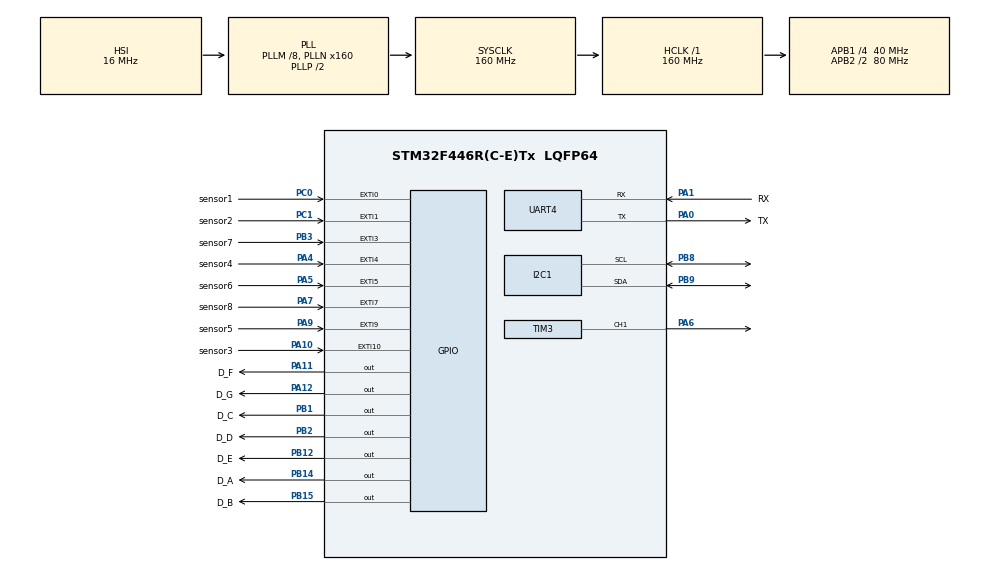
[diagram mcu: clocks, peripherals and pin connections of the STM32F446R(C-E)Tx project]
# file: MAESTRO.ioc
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Dma.Request0=TIM3_CH1/TRIG
Dma.TIM3_CH1/TRIG.0.Direction=DMA_MEMORY_TO_PERIPH
Dma.TIM3_CH1/TRIG.0.FIFOMode=DMA_FIFOMODE_DISABLE
Dma.TIM3_CH1/TRIG.0.Instance=DMA1_Stream4
Dma.TIM3_CH1/TRIG.0.MemDataAlignment=DMA_MDATAALIGN_HALFWORD
Dma.TIM3_CH1/TRIG.0.MemInc=DMA_MINC_ENABLE
Dma.TIM3_CH1/TRIG.0.Mode=DMA_NORMAL
Dma.TIM3_CH1/TRIG.0.PeriphDataAlignment=DMA_PDATAALIGN_HALFWORD
Dma.TIM3_CH1/TRIG.0.PeriphInc=DMA_PINC_DISABLE
Dma.TIM3_CH1/TRIG.0.Priority=DMA_PRIORITY_LOW
Mcu.Family=STM32F4
Mcu.Name=STM32F446R(C-E)Tx
Mcu.Package=LQFP64
NVIC.DMA1_Stream4_IRQn=true\:0\:0\:false\:false\:true\:false\:true\:true
NVIC.EXTI0_IRQn=true\:0\:0\:false\:false\:true\:true\:true\:true
NVIC.EXTI15_10_IRQn=true\:0\:0\:false\:false\:true\:true\:true\:true
NVIC.EXTI1_IRQn=true\:0\:0\:false\:false\:true\:true\:true\:true
NVIC.EXTI3_IRQn=true\:0\:0\:false\:false\:true\:true\:true\:true
NVIC.EXTI4_IRQn=true\:0\:0\:false\:false\:true\:true\:true\:true
NVIC.EXTI9_5_IRQn=true\:0\:0\:false\:false\:true\:true\:true\:true
NVIC.I2C1_ER_IRQn=true\:0\:0\:false\:false\:true\:true\:true\:true
NVIC.I2C1_EV_IRQn=true\:0\:0\:false\:false\:true\:true\:true\:true
NVIC.PriorityGroup=NVIC_PRIORITYGROUP_4
NVIC.TIM3_IRQn=true\:0\:0\:false\:false\:true\:true\:true\:true
NVIC.UART4_IRQn=true\:0\:0\:false\:false\:true\:true\:true\:true
PA0-WKUP.GPIO_Label=TX
PA0-WKUP.Mode=Asynchronous
PA0-WKUP.Signal=UART4_TX
PA1.GPIO_Label=RX
PA1.Mode=Asynchronous
PA1.Signal=UART4_RX
PA10.GPIO_Label=sensor3
PA10.GPIO_ModeDefaultEXTI=GPIO_MODE_IT_RISING_FALLING
PA10.Signal=GPXTI10
PA11.GPIO_Label=D_F
PA11.Signal=GPIO_Output
PA12.GPIO_Label=D_G
PA12.Signal=GPIO_Output
PA4.GPIO_Label=sensor4
PA4.GPIO_ModeDefaultEXTI=GPIO_MODE_IT_RISING_FALLING
PA4.Signal=GPXTI4
PA5.GPIO_Label=sensor6
PA5.GPIO_ModeDefaultEXTI=GPIO_MODE_IT_RISING_FALLING
PA5.Signal=GPXTI5
PA6.Signal=S_TIM3_CH1
PA7.GPIO_Label=sensor8
PA7.GPIO_ModeDefaultEXTI=GPIO_MODE_IT_RISING_FALLING
PA7.Signal=GPXTI7
PA9.GPIO_Label=sensor5
PA9.GPIO_ModeDefaultEXTI=GPIO_MODE_IT_RISING_FALLING
PA9.Signal=GPXTI9
PB1.GPIO_Label=D_C
PB1.Signal=GPIO_Output
PB12.GPIO_Label=D_E
PB12.Signal=GPIO_Output
PB14.GPIO_Label=D_A
PB14.Signal=GPIO_Output
PB15.GPIO_Label=D_B
PB15.Signal=GPIO_Output
PB2.GPIO_Label=D_D
PB2.Signal=GPIO_Output
PB3.GPIO_Label=sensor7
PB3.GPIO_ModeDefaultEXTI=GPIO_MODE_IT_RISING_FALLING
PB3.Signal=GPXTI3
PB8.Mode=I2C
PB8.Signal=I2C1_SCL
PB9.Mode=I2C
PB9.Signal=I2C1_SDA
PC0.GPIO_Label=sensor1
PC0.GPIO_ModeDefaultEXTI=GPIO_MODE_IT_RISING_FALLING
PC0.Signal=GPXTI0
PC1.GPIO_Label=sensor2
PC1.GPIO_ModeDefaultEXTI=GPIO_MODE_IT_RISING_FALLING
PC1.Signal=GPXTI1
PH0-OSC_IN.Mode=HSE-External-Oscillator
PH0-OSC_IN.Signal=RCC_OSC_IN
PH1-OSC_OUT.Mode=HSE-External-Oscillator
PH1-OSC_OUT.Signal=RCC_OSC_OUT
ProjectManager.HeapSize=0x200
ProjectManager.StackSize=0x400
ProjectManager.TargetToolchain=STM32CubeIDE
RCC.AHBFreq_Value=160000000
RCC.APB1CLKDivider=RCC_HCLK_DIV4
RCC.APB1Freq_Value=40000000
RCC.APB1TimFreq_Value=80000000
RCC.APB2CLKDivider=RCC_HCLK_DIV2
RCC.APB2Freq_Value=80000000
RCC.APB2TimFreq_Value=160000000
RCC.CortexFreq_Value=160000000
RCC.HCLKFreq_Value=160000000
RCC.PLLM=8
RCC.PLLN=160
RCC.SYSCLKFreq_VALUE=160000000
RCC.SYSCLKSource=RCC_SYSCLKSOURCE_PLLCLK
RCC.USBFreq_Value=160000000
RCC.VCOOutputFreq_Value=320000000
SH.S_TIM3_CH1.0=TIM3_CH1,PWM Generation1 CH1
TIM3.AutoReloadPreload=TIM_AUTORELOAD_PRELOAD_ENABLE
TIM3.Channel-PWM\ Generation1\ CH1=TIM_CHANNEL_1
TIM3.Period=24
TIM3.Prescaler=3
UART4.VirtualMode=Asynchronous
board=custom

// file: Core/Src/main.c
/* USER CODE BEGIN Header */
/**
   ******************************************************************************
 Universidad Del Valle De Guatemala
 IE2023: Electrónica digital 2
 Autor: Samuel Tortola - 22094, Alan Gomez - 22115
 Proyecto: Proyecto servidor WEB
 Hardware: STM32
 Creado: 31/10/2024
Última modificación: 3/11/2024
******************************************************************************
  */
//CODIGO DEL DISPLAY DE 7 SEGMENTOS, SENSORES INFRARROJOS, NEOPIXEL, ESTE SMT32 ES EL MAESTRO DE I2C

/* USER CODE END Header */
#include "main.h"

/* USER CODE BEGIN Includes */
#include "neo_pixel.h"
#include <string.h>

/* USER CODE END Includes */

/* USER CODE BEGIN PD */
#define NUMBER_OF_LEDS 8

uint8_t espacios_disponibles = 8, activa1 = 0, activa2 = 0, activa3 = 0, activa4 = 0, activa5 = 0, activa6 = 0, activa7 = 0, activa8 = 0, activador = 0, activador1 = 0;
int ESP32_ADDRESS = 0x01, STM32_SLAVE_ADDRESS = 0x02;

volatile uint32_t last_interrupt_time = 0; // Variable global para almacenar el tiempo de la última interrupción
uint32_t debounce_delay = 50; // Tiempo de debounce en ms

/* USER CODE END PD */

I2C_HandleTypeDef hi2c1;

TIM_HandleTypeDef htim3;
DMA_HandleTypeDef hdma_tim3_ch1_trig;

UART_HandleTypeDef huart4;

/* USER CODE BEGIN PV */
neopixel_led leds[NUMBER_OF_LEDS + 1];
neopixel_led circular_pattern_led[2 * NUMBER_OF_LEDS + 1];
rgb_color led_pattern[NUMBER_OF_LEDS];

/* USER CODE END PV */

void SystemClock_Config(void);
static void MX_GPIO_Init(void);
static void MX_DMA_Init(void);
static void MX_TIM3_Init(void);
static void MX_I2C1_Init(void);
static void MX_UART4_Init(void);
/* USER CODE BEGIN PFP */

void setSegment(uint8_t a, uint8_t b, uint8_t c, uint8_t d, uint8_t e, uint8_t f, uint8_t g);
void display0();
void display1();
void display2();
void display3();
void display4();
void display5();
void display6();
void display7();
void display8();
void display9();

/* USER CODE END PFP */

/* USER CODE BEGIN 0 */

    neopixel_led temp_neo_pixel;
	rgb_color red_color = {255, 0, 0};
	rgb_color green_color = {0, 255, 0};
	rgb_color blue_color = {0, 0, 255};
	rgb_color black_color = {0, 0, 0};
	uint16_t led_pos_counter = 0;

	  uint8_t data = 0;

void HAL_GPIO_EXTI_Callback(uint16_t GPIO_Pin) {
    uint32_t current_time = HAL_GetTick(); // Obtener el tiempo actual en ms
    activador = 1;

    if (GPIO_Pin == sensor1_Pin) {
        if ((current_time - last_interrupt_time) > debounce_delay) {
            if (activa1 == 0) {
                espacios_disponibles--;
                set_specific_led(leds, 0, &black_color);
                set_specific_led(leds, 0, &red_color);
                HAL_TIM_PWM_Start_DMA(&htim3, TIM_CHANNEL_1, (uint32_t*)leds, NUMBER_OF_LEDS * 24 + 24); // Enviar datos a los LEDs

                activa1 = 1;
            } else if (activa1 == 1) {
                espacios_disponibles++;
                set_specific_led(leds, 0, &black_color);
               set_specific_led(leds, 0, &green_color);
               HAL_TIM_PWM_Start_DMA(&htim3, TIM_CHANNEL_1, (uint32_t*)leds, NUMBER_OF_LEDS * 24 + 24); // Enviar datos a los LEDs
                activa1 = 0;
            }
            last_interrupt_time = current_time;

             data = 0x08; // Declarar una variable de tipo uint8_t con el dato a enviar
             char* mensaje = "8"; // Definir mensaje

           					 // Enviar datos al ESP32
	  if (HAL_I2C_Master_Transmit(&hi2c1, ESP32_ADDRESS << 1, &data, 1, HAL_MAX_DELAY) != HAL_OK) {
			  // Manejar el error
			  Error_Handler();
		  }
		//   Enviar datos al STM32 esclavo
	  HAL_UART_Transmit(&huart4, (uint8_t*)mensaje, strlen(mensaje), 10); // Enviar mensaje por UART4

        }
    } else if (GPIO_Pin == sensor2_Pin) {
        if ((current_time - last_interrupt_time) > debounce_delay) {
            if (activa2 == 0) {
                espacios_disponibles--;
                set_specific_led(leds, 1, &black_color);
                set_specific_led(leds, 1, &red_color);
                HAL_TIM_PWM_Start_DMA(&htim3, TIM_CHANNEL_1, (uint32_t*)leds, NUMBER_OF_LEDS * 24 + 24); // Enviar datos a los LEDs
                activa2 = 1;
            } else if (activa2 == 1) {
                espacios_disponibles++;
                set_specific_led(leds, 1, &black_color);
                set_specific_led(leds, 1, &green_color);
                HAL_TIM_PWM_Start_DMA(&htim3, TIM_CHANNEL_1, (uint32_t*)leds, NUMBER_OF_LEDS * 24 + 24); // Enviar datos a los LEDs
                activa2 = 0;
            }
            last_interrupt_time = current_time;

          data = 0x07; // Declarar una variable de tipo uint8_t con el dato a enviar
          char* mensaje = "7";

		 // Enviar datos al ESP32
          if (HAL_I2C_Master_Transmit(&hi2c1, ESP32_ADDRESS << 1, &data, 1, HAL_MAX_DELAY) != HAL_OK) {
          			  // Manejar el error
          			  Error_Handler();
          		  }

		  	//   Enviar datos al STM32 esclavo
          HAL_UART_Transmit(&huart4, (uint8_t*)mensaje, strlen(mensaje), 10); // Enviar mensaje por UART4
        }
    } else if (GPIO_Pin == sensor3_Pin) {
        if ((current_time - last_interrupt_time) > debounce_delay) {
            if (activa3 == 0) {
                espacios_disponibles--;
                set_specific_led(leds, 6, &black_color);
                set_specific_led(leds, 6, &red_color);
                HAL_TIM_PWM_Start_DMA(&htim3, TIM_CHANNEL_1, (uint32_t*)leds, NUMBER_OF_LEDS * 24 + 24); // Enviar datos a los LEDs
                activa3 = 1;
            } else if (activa3 == 1) {
                espacios_disponibles++;
                set_specific_led(leds, 6, &black_color);
                set_specific_led(leds, 6, &green_color);
                HAL_TIM_PWM_Start_DMA(&htim3, TIM_CHANNEL_1, (uint32_t*)leds, NUMBER_OF_LEDS * 24 + 24); // Enviar datos a los LEDs
                activa3 = 0;
            }
            last_interrupt_time = current_time;

            data = 0x02; // Declarar una variable de tipo uint8_t con el dato a enviar
            char* mensaje = "2";

		 // Enviar datos al ESP32
		  if (HAL_I2C_Master_Transmit(&hi2c1, ESP32_ADDRESS << 1, &data, 1, HAL_MAX_DELAY) != HAL_OK) {
			  // Manejar el error
			  Error_Handler();
		  }

		  //   Enviar datos al STM32 esclavo
		  HAL_UART_Transmit(&huart4, (uint8_t*)mensaje, strlen(mensaje), 10); // Enviar mensaje por UART4
        }
    } else if (GPIO_Pin == sensor4_Pin) {
        if ((current_time - last_interrupt_time) > debounce_delay) {
            if (activa4 == 0) {
                espacios_disponibles--;
                set_specific_led(leds, 3, &black_color);
                set_specific_led(leds, 3, &red_color);
                HAL_TIM_PWM_Start_DMA(&htim3, TIM_CHANNEL_1, (uint32_t*)leds, NUMBER_OF_LEDS * 24 + 24); // Enviar datos a los LEDs
                activa4 = 1;
            } else if (activa4 == 1) {
                espacios_disponibles++;
                set_specific_led(leds, 3, &black_color);
                set_specific_led(leds, 3, &green_color);
                HAL_TIM_PWM_Start_DMA(&htim3, TIM_CHANNEL_1, (uint32_t*)leds, NUMBER_OF_LEDS * 24 + 24); // Enviar datos a los LEDs
                activa4 = 0;
            }
            last_interrupt_time = current_time;

            data = 0x05; // Declarar una variable de tipo uint8_t con el dato a enviar
            char* mensaje = "5";

		 // Enviar datos al ESP32
		  if (HAL_I2C_Master_Transmit(&hi2c1, ESP32_ADDRESS << 1, &data, 1, HAL_MAX_DELAY) != HAL_OK) {
			  // Manejar el error
			  Error_Handler();
		  }

		  	//   Enviar datos al STM32 esclavo
		  HAL_UART_Transmit(&huart4, (uint8_t*)mensaje, strlen(mensaje), 10); // Enviar mensaje por UART4
        }
    } else if (GPIO_Pin == sensor5_Pin) {
        if ((current_time - last_interrupt_time) > debounce_delay) {
            if (activa5 == 0) {
                espacios_disponibles--;
                set_specific_led(leds, 4, &black_color);
                set_specific_led(leds, 4, &red_color);
                HAL_TIM_PWM_Start_DMA(&htim3, TIM_CHANNEL_1, (uint32_t*)leds, NUMBER_OF_LEDS * 24 + 24); // Enviar datos a los LEDs
                activa5 = 1;
            } else if (activa5 == 1) {
                espacios_disponibles++;
                set_specific_led(leds, 4, &black_color);
                set_specific_led(leds, 4, &green_color);
                HAL_TIM_PWM_Start_DMA(&htim3, TIM_CHANNEL_1, (uint32_t*)leds, NUMBER_OF_LEDS * 24 + 24); // Enviar datos a los LEDs
                activa5 = 0;
            }
            last_interrupt_time = current_time;
             data = 0x04; // Declarar una variable de tipo uint8_t con el dato a enviar
             char* mensaje = "4";

			 // Enviar datos al ESP32
			  if (HAL_I2C_Master_Transmit(&hi2c1, ESP32_ADDRESS << 1, &data, 1, HAL_MAX_DELAY) != HAL_OK) {
				  // Manejar el error
				  Error_Handler();
			  }

			  	//   Enviar datos al STM32 esclavo
			  HAL_UART_Transmit(&huart4, (uint8_t*)mensaje, strlen(mensaje), 10); // Enviar mensaje por UART4
        }
    } else if (GPIO_Pin == sensor6_Pin) {
        if ((current_time - last_interrupt_time) > debounce_delay) {
            if (activa6 == 0) {
                espacios_disponibles--;
                set_specific_led(leds, 5, &black_color);
                set_specific_led(leds, 5, &red_color);
                HAL_TIM_PWM_Start_DMA(&htim3, TIM_CHANNEL_1, (uint32_t*)leds, NUMBER_OF_LEDS * 24 + 24); // Enviar datos a los LEDs
                activa6 = 1;
            } else if (activa6 == 1) {
                espacios_disponibles++;
                set_specific_led(leds, 5, &black_color);
                set_specific_led(leds, 5, &green_color);
                HAL_TIM_PWM_Start_DMA(&htim3, TIM_CHANNEL_1, (uint32_t*)leds, NUMBER_OF_LEDS * 24 + 24); // Enviar datos a los LEDs
                activa6 = 0;
            }
            last_interrupt_time = current_time;

             data = 0x03; // Declarar una variable de tipo uint8_t con el dato a enviar
             char* mensaje = "3";

			 // Enviar datos al ESP32
			  if (HAL_I2C_Master_Transmit(&hi2c1, ESP32_ADDRESS << 1, &data, 1, HAL_MAX_DELAY) != HAL_OK) {
				  // Manejar el error
				  Error_Handler();
			  }

			  	//   Enviar datos al STM32 esclavo
			  HAL_UART_Transmit(&huart4, (uint8_t*)mensaje, strlen(mensaje), 10); // Enviar mensaje por UART4
        }
    } else if (GPIO_Pin == sensor7_Pin) {
        if ((current_time - last_interrupt_time) > debounce_delay) {
            if (activa7 == 0) {
                espacios_disponibles--;
                set_specific_led(leds, 2, &black_color);
                set_specific_led(leds, 2, &red_color);
                HAL_TIM_PWM_Start_DMA(&htim3, TIM_CHANNEL_1, (uint32_t*)leds, NUMBER_OF_LEDS * 24 + 24); // Enviar datos a los LEDs
                activa7 = 1;
            } else if (activa7 == 1) {
                espacios_disponibles++;
                set_specific_led(leds, 2, &black_color);
                set_specific_led(leds, 2, &green_color);
                HAL_TIM_PWM_Start_DMA(&htim3, TIM_CHANNEL_1, (uint32_t*)leds, NUMBER_OF_LEDS * 24 + 24); // Enviar datos a los LEDs
                activa7 = 0;
            }
            last_interrupt_time = current_time;
            data = 0x06; // Declarar una variable de tipo uint8_t con el dato a enviar
            char* mensaje = "6";

			 // Enviar datos al ESP32
			  if (HAL_I2C_Master_Transmit(&hi2c1, ESP32_ADDRESS << 1, &data, 1, HAL_MAX_DELAY) != HAL_OK) {
				  // Manejar el error
				  Error_Handler();
			  }

			  //   Enviar datos al STM32 esclavo
			  HAL_UART_Transmit(&huart4, (uint8_t*)mensaje, strlen(mensaje), 10); // Enviar mensaje por UART4
        }
    } else if (GPIO_Pin == sensor8_Pin) {
        if ((current_time - last_interrupt_time) > debounce_delay) {
            if (activa8 == 0) {
                espacios_disponibles--;
                set_specific_led(leds, 7, &black_color);
                set_specific_led(leds, 7, &red_color);
                HAL_TIM_PWM_Start_DMA(&htim3, TIM_CHANNEL_1, (uint32_t*)leds, NUMBER_OF_LEDS * 24 + 24); // Enviar datos a los LEDs
                activa8 = 1;
            } else if (activa8 == 1) {
                espacios_disponibles++;
                set_specific_led(leds, 7, &black_color);
                set_specific_led(leds, 7, &green_color);
                HAL_TIM_PWM_Start_DMA(&htim3, TIM_CHANNEL_1, (uint32_t*)leds, NUMBER_OF_LEDS * 24 + 24); // Enviar datos a los LEDs
                activa8 = 0;
            }
            last_interrupt_time = current_time;

             data = 0x01; // Declarar una variable de tipo uint8_t con el dato a enviar
             char* mensaje = "1";

           					 // Enviar datos al ESP32
		 if (HAL_I2C_Master_Transmit(&hi2c1, ESP32_ADDRESS << 1, &data, 1, HAL_MAX_DELAY) != HAL_OK) {
			  // Manejar el error
			  Error_Handler();
		  }

		 	//   Enviar datos al STM32 esclavo
		 HAL_UART_Transmit(&huart4, (uint8_t*)mensaje, strlen(mensaje), 10); // Enviar mensaje por UART4

        }
    }
}

/* USER CODE END 0 */

int main(void)
{

  /* USER CODE BEGIN 1 */

	// Patterns
	for(int i = 0; i < NUMBER_OF_LEDS; i++){
		led_pattern[i].b = (i%2) * 255;
	}

	// Some pattern
	led_pattern[0].b = 127;
	led_pattern[0].r = (50);
	led_pattern[0].g = 0;
	led_pattern[1].b = 255;
	led_pattern[1].r = (100);
	led_pattern[1].g = 0;
	led_pattern[2].b = 0;
	led_pattern[2].r = (150);
	led_pattern[2].g = 127;
	led_pattern[3].b = 0;
	led_pattern[3].r = (150);
	led_pattern[3].g = 255;

	// Setting the pattern
	set_pattern_led(circular_pattern_led, led_pattern, NUMBER_OF_LEDS);
	set_pattern_led(circular_pattern_led + NUMBER_OF_LEDS, led_pattern, NUMBER_OF_LEDS);

  /* USER CODE END 1 */

  /* MCU Configuration--------------------------------------------------------*/

  /* Reset of all peripherals, Initializes the Flash interface and the Systick. */
  HAL_Init();

  /* Configure the system clock */
  SystemClock_Config();

  /* Initialize all configured peripherals */
  MX_GPIO_Init();
  MX_DMA_Init();
  MX_TIM3_Init();
  MX_I2C1_Init();
  MX_UART4_Init();
  /* USER CODE BEGIN 2 */

    reset_all_leds(leds, NUMBER_OF_LEDS); // Apagar todos los LEDs
    set_specific_led(leds, 0, &green_color); // Establecer LEDs en verde
    set_specific_led(leds, 1, &green_color);
    set_specific_led(leds, 2, &green_color);
    set_specific_led(leds, 3, &green_color);
    set_specific_led(leds, 4, &green_color);
    set_specific_led(leds, 5, &green_color);
    set_specific_led(leds, 6, &green_color);
    set_specific_led(leds, 7, &green_color);
    HAL_TIM_PWM_Start_DMA(&htim3, TIM_CHANNEL_1, (uint32_t*)leds, NUMBER_OF_LEDS * 24 + 24); // Enviar datos a los LEDs

    HAL_Delay(3000);  //Retardo para estaperar a que el sistema se inicie bien

  /* USER CODE END 2 */

  /* Infinite loop */
  /* USER CODE BEGIN WHILE */
  while (1)
  {
	  if(activador == 1|| activador1 == 0){
		  activador1 = 1;

		  	 if(espacios_disponibles <= 0 ){
		 		  display0();
		 		 reset_all_leds(leds, NUMBER_OF_LEDS); // Apagar todos los LEDs
		 		    set_specific_led(leds, 0, &red_color); // Establecer LED en rojo
		 		    set_specific_led(leds, 1, &red_color);
		 		    set_specific_led(leds, 2, &red_color);
		 		    set_specific_led(leds, 3, &red_color);
		 		    set_specific_led(leds, 4, &red_color);
		 		    set_specific_led(leds, 5, &red_color);
		 		    set_specific_led(leds, 6, &red_color);
		 		    set_specific_led(leds, 7, &red_color);
		 		    HAL_TIM_PWM_Start_DMA(&htim3, TIM_CHANNEL_1, (uint32_t*)leds, NUMBER_OF_LEDS * 24 + 24); // Enviar datos a los LEDs

		 		  espacios_disponibles = 0;
		 	  }
		 	  else if(espacios_disponibles == 1){
		 		  display1();

		 	  }
		 	  else if(espacios_disponibles == 2){
		 	 		  display2();

}
		 	  else if(espacios_disponibles == 3){
		 	 		  display3();

		 	  }
		 	  else if(espacios_disponibles == 4){
		 		  display4();

		 	  }

		 	  else if(espacios_disponibles == 5){
		 	 		  display5();

		 	 }
		 	  else if(espacios_disponibles == 6){
		 	 		  display6();

		 	  }
		 	  else if(espacios_disponibles == 7){
		 		  display7();

		 	  }

		 	  else if(espacios_disponibles >= 8){
		 	 		  display8();
		 	 		  reset_all_leds(leds, NUMBER_OF_LEDS); // Apagar todos los LEDs
		 	 		    set_specific_led(leds, 0, &green_color);
		 	 		    set_specific_led(leds, 1, &green_color);
		 	 		    set_specific_led(leds, 2, &green_color);
		 	 		    set_specific_led(leds, 3, &green_color);
		 	 		    set_specific_led(leds, 4, &green_color);
		 	 		    set_specific_led(leds, 5, &green_color);
		 	 		    set_specific_led(leds, 6, &green_color);
		 	 		    set_specific_led(leds, 7, &green_color);
		 	 		    HAL_TIM_PWM_Start_DMA(&htim3, TIM_CHANNEL_1, (uint32_t*)leds, NUMBER_OF_LEDS * 24 + 24); // Enviar datos a los LEDs

		 	 		 espacios_disponibles = 8;
		 	 }

		  	 activador = 0;

	  }

  HAL_Delay(10); // Esperar 10ms

    /* USER CODE END WHILE */

  }
}

void SystemClock_Config(void)
{
  RCC_OscInitTypeDef RCC_OscInitStruct = {0};
  RCC_ClkInitTypeDef RCC_ClkInitStruct = {0};

  /** Configure the main internal regulator output voltage
  */
  __HAL_RCC_PWR_CLK_ENABLE();
  __HAL_PWR_VOLTAGESCALING_CONFIG(PWR_REGULATOR_VOLTAGE_SCALE1);

  /** Initializes the RCC Oscillators according to the specified parameters
  * in the RCC_OscInitTypeDef structure.
  */
  RCC_OscInitStruct.OscillatorType = RCC_OSCILLATORTYPE_HSI;
  RCC_OscInitStruct.HSIState = RCC_HSI_ON;
  RCC_OscInitStruct.HSICalibrationValue = RCC_HSICALIBRATION_DEFAULT;
  RCC_OscInitStruct.PLL.PLLState = RCC_PLL_ON;
  RCC_OscInitStruct.PLL.PLLSource = RCC_PLLSOURCE_HSI;
  RCC_OscInitStruct.PLL.PLLM = 8;
  RCC_OscInitStruct.PLL.PLLN = 160;
  RCC_OscInitStruct.PLL.PLLP = RCC_PLLP_DIV2;
  RCC_OscInitStruct.PLL.PLLQ = 2;
  RCC_OscInitStruct.PLL.PLLR = 2;
  if (HAL_RCC_OscConfig(&RCC_OscInitStruct) != HAL_OK)
  {
    Error_Handler();
  }

  /** Initializes the CPU, AHB and APB buses clocks
  */
  RCC_ClkInitStruct.ClockType = RCC_CLOCKTYPE_HCLK|RCC_CLOCKTYPE_SYSCLK
                              |RCC_CLOCKTYPE_PCLK1|RCC_CLOCKTYPE_PCLK2;
  RCC_ClkInitStruct.SYSCLKSource = RCC_SYSCLKSOURCE_PLLCLK;
  RCC_ClkInitStruct.AHBCLKDivider = RCC_SYSCLK_DIV1;
  RCC_ClkInitStruct.APB1CLKDivider = RCC_HCLK_DIV4;
  RCC_ClkInitStruct.APB2CLKDivider = RCC_HCLK_DIV2;

  if (HAL_RCC_ClockConfig(&RCC_ClkInitStruct, FLASH_LATENCY_5) != HAL_OK)
  {
    Error_Handler();
  }
}

static void MX_I2C1_Init(void)
{

  hi2c1.Instance = I2C1;
  hi2c1.Init.ClockSpeed = 100000;
  hi2c1.Init.DutyCycle = I2C_DUTYCYCLE_2;
  hi2c1.Init.OwnAddress1 = 0;
  hi2c1.Init.AddressingMode = I2C_ADDRESSINGMODE_7BIT;
  hi2c1.Init.DualAddressMode = I2C_DUALADDRESS_DISABLE;
  hi2c1.Init.OwnAddress2 = 0;
  hi2c1.Init.GeneralCallMode = I2C_GENERALCALL_DISABLE;
  hi2c1.Init.NoStretchMode = I2C_NOSTRETCH_DISABLE;
  if (HAL_I2C_Init(&hi2c1) != HAL_OK)
  {
    Error_Handler();
  }

}

static void MX_TIM3_Init(void)
{

  TIM_MasterConfigTypeDef sMasterConfig = {0};
  TIM_OC_InitTypeDef sConfigOC = {0};

  htim3.Instance = TIM3;
  htim3.Init.Prescaler = 3;
  htim3.Init.CounterMode = TIM_COUNTERMODE_UP;
  htim3.Init.Period = 24;
  htim3.Init.ClockDivision = TIM_CLOCKDIVISION_DIV1;
  htim3.Init.AutoReloadPreload = TIM_AUTORELOAD_PRELOAD_ENABLE;
  if (HAL_TIM_PWM_Init(&htim3) != HAL_OK)
  {
    Error_Handler();
  }
  sMasterConfig.MasterOutputTrigger = TIM_TRGO_RESET;
  sMasterConfig.MasterSlaveMode = TIM_MASTERSLAVEMODE_DISABLE;
  if (HAL_TIMEx_MasterConfigSynchronization(&htim3, &sMasterConfig) != HAL_OK)
  {
    Error_Handler();
  }
  sConfigOC.OCMode = TIM_OCMODE_PWM1;
  sConfigOC.Pulse = 0;
  sConfigOC.OCPolarity = TIM_OCPOLARITY_HIGH;
  sConfigOC.OCFastMode = TIM_OCFAST_DISABLE;
  if (HAL_TIM_PWM_ConfigChannel(&htim3, &sConfigOC, TIM_CHANNEL_1) != HAL_OK)
  {
    Error_Handler();
  }
  HAL_TIM_MspPostInit(&htim3);

}

static void MX_UART4_Init(void)
{

  huart4.Instance = UART4;
  huart4.Init.BaudRate = 115200;
  huart4.Init.WordLength = UART_WORDLENGTH_8B;
  huart4.Init.StopBits = UART_STOPBITS_1;
  huart4.Init.Parity = UART_PARITY_NONE;
  huart4.Init.Mode = UART_MODE_TX_RX;
  huart4.Init.HwFlowCtl = UART_HWCONTROL_NONE;
  huart4.Init.OverSampling = UART_OVERSAMPLING_16;
  if (HAL_UART_Init(&huart4) != HAL_OK)
  {
    Error_Handler();
  }

}

static void MX_DMA_Init(void)
{

  /* DMA controller clock enable */
  __HAL_RCC_DMA1_CLK_ENABLE();

  /* DMA interrupt init */
  /* DMA1_Stream4_IRQn interrupt configuration */
  HAL_NVIC_SetPriority(DMA1_Stream4_IRQn, 0, 0);
  HAL_NVIC_EnableIRQ(DMA1_Stream4_IRQn);

}

static void MX_GPIO_Init(void)
{
  GPIO_InitTypeDef GPIO_InitStruct = {0};

  /* GPIO Ports Clock Enable */
  __HAL_RCC_GPIOH_CLK_ENABLE();
  __HAL_RCC_GPIOC_CLK_ENABLE();
  __HAL_RCC_GPIOA_CLK_ENABLE();
  __HAL_RCC_GPIOB_CLK_ENABLE();

  /*Configure GPIO pin Output Level */
  HAL_GPIO_WritePin(GPIOB, D_C_Pin|D_D_Pin|D_E_Pin|D_A_Pin
                          |D_B_Pin, GPIO_PIN_RESET);

  /*Configure GPIO pin Output Level */
  HAL_GPIO_WritePin(GPIOA, D_F_Pin|D_G_Pin, GPIO_PIN_RESET);

  /*Configure GPIO pins : sensor1_Pin sensor2_Pin */
  GPIO_InitStruct.Pin = sensor1_Pin|sensor2_Pin;
  GPIO_InitStruct.Mode = GPIO_MODE_IT_RISING_FALLING;
  GPIO_InitStruct.Pull = GPIO_NOPULL;
  HAL_GPIO_Init(GPIOC, &GPIO_InitStruct);

  /*Configure GPIO pins : sensor4_Pin sensor6_Pin sensor8_Pin sensor5_Pin
                           sensor3_Pin */
  GPIO_InitStruct.Pin = sensor4_Pin|sensor6_Pin|sensor8_Pin|sensor5_Pin
                          |sensor3_Pin;
  GPIO_InitStruct.Mode = GPIO_MODE_IT_RISING_FALLING;
  GPIO_InitStruct.Pull = GPIO_NOPULL;
  HAL_GPIO_Init(GPIOA, &GPIO_InitStruct);

  /*Configure GPIO pins : D_C_Pin D_D_Pin D_E_Pin D_A_Pin
                           D_B_Pin */
  GPIO_InitStruct.Pin = D_C_Pin|D_D_Pin|D_E_Pin|D_A_Pin
                          |D_B_Pin;
  GPIO_InitStruct.Mode = GPIO_MODE_OUTPUT_PP;
  GPIO_InitStruct.Pull = GPIO_NOPULL;
  GPIO_InitStruct.Speed = GPIO_SPEED_FREQ_LOW;
  HAL_GPIO_Init(GPIOB, &GPIO_InitStruct);

  /*Configure GPIO pins : D_F_Pin D_G_Pin */
  GPIO_InitStruct.Pin = D_F_Pin|D_G_Pin;
  GPIO_InitStruct.Mode = GPIO_MODE_OUTPUT_PP;
  GPIO_InitStruct.Pull = GPIO_NOPULL;
  GPIO_InitStruct.Speed = GPIO_SPEED_FREQ_LOW;
  HAL_GPIO_Init(GPIOA, &GPIO_InitStruct);

  /*Configure GPIO pin : sensor7_Pin */
  GPIO_InitStruct.Pin = sensor7_Pin;
  GPIO_InitStruct.Mode = GPIO_MODE_IT_RISING_FALLING;
  GPIO_InitStruct.Pull = GPIO_NOPULL;
  HAL_GPIO_Init(sensor7_GPIO_Port, &GPIO_InitStruct);

  /* EXTI interrupt init*/
  HAL_NVIC_SetPriority(EXTI0_IRQn, 0, 0);
  HAL_NVIC_EnableIRQ(EXTI0_IRQn);

  HAL_NVIC_SetPriority(EXTI1_IRQn, 0, 0);
  HAL_NVIC_EnableIRQ(EXTI1_IRQn);

  HAL_NVIC_SetPriority(EXTI3_IRQn, 0, 0);
  HAL_NVIC_EnableIRQ(EXTI3_IRQn);

  HAL_NVIC_SetPriority(EXTI4_IRQn, 0, 0);
  HAL_NVIC_EnableIRQ(EXTI4_IRQn);

  HAL_NVIC_SetPriority(EXTI9_5_IRQn, 0, 0);
  HAL_NVIC_EnableIRQ(EXTI9_5_IRQn);

  HAL_NVIC_SetPriority(EXTI15_10_IRQn, 0, 0);
  HAL_NVIC_EnableIRQ(EXTI15_10_IRQn);

}

/* USER CODE BEGIN 4 */

void setSegment(uint8_t a, uint8_t b, uint8_t c, uint8_t d, uint8_t e, uint8_t f, uint8_t g) {
    HAL_GPIO_WritePin(D_A_GPIO_Port, D_A_Pin, a);
    HAL_GPIO_WritePin(D_B_GPIO_Port, D_B_Pin, b);
    HAL_GPIO_WritePin(D_C_GPIO_Port, D_C_Pin, c);
    HAL_GPIO_WritePin(D_D_GPIO_Port, D_D_Pin, d);
    HAL_GPIO_WritePin(D_E_GPIO_Port, D_E_Pin, e);
    HAL_GPIO_WritePin(D_F_GPIO_Port, D_F_Pin, f);
    HAL_GPIO_WritePin(D_G_GPIO_Port, D_G_Pin, g);
}

void display0() {
    setSegment(1, 1, 1, 1, 1, 1, 0); // 0
}

void display1() {
    setSegment(0, 1, 1, 0, 0, 0, 0); // 1
}

void display2() {
    setSegment(1, 1, 0, 1, 1, 0, 1); // 2
}

void display3() {
    setSegment(1, 1, 1, 1, 0, 0, 1); // 3
}

void display4() {
    setSegment(0, 1, 1, 0, 0, 1, 1); // 4
}

void display5() {
    setSegment(1, 0, 1, 1, 0, 1, 1); // 5
}

void display6() {
    setSegment(1, 0, 1, 1, 1, 1, 1); // 6
}

void display7() {
    setSegment(1, 1, 1, 0, 0, 0, 0); // 7
}

void display8() {
    setSegment(1, 1, 1, 1, 1, 1, 1); // 8
}

void display9() {
    setSegment(1, 1, 1, 1, 0, 1, 1); // 9
}

/* USER CODE END 4 */

void Error_Handler(void)
{
  __disable_irq();
  while (1)
  {
  }
}
